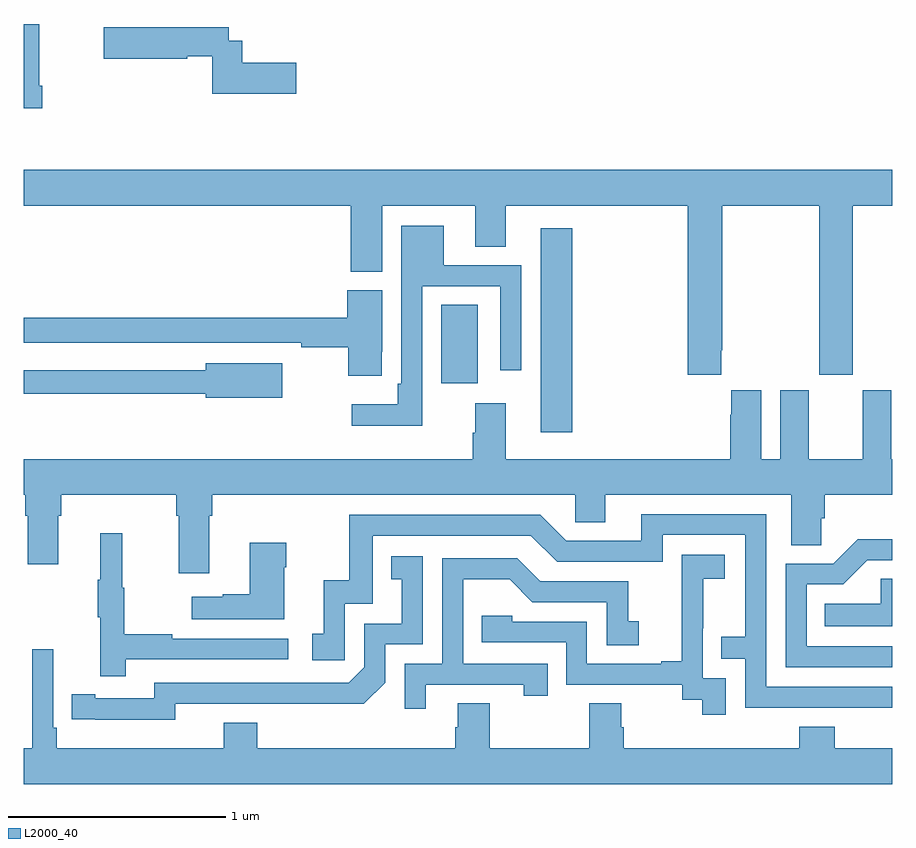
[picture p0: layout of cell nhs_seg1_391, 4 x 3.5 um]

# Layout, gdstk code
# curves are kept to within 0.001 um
import gdstk
lib = gdstk.Library(unit=1e-6, precision=1e-09)
def R(c, l, rs):  # rectangles x0, y0, x1, y1
    for r in rs: c.add(gdstk.rectangle(r[:2], r[2:], *l))
def P(c, l, *ps):  # polygons
    for p in ps: c.add(gdstk.Polygon(p, *l))
L2000_40 = (2000, 40)

nhs_seg1_391 = lib.new_cell('nhs_seg1_391')
R(nhs_seg1_391, L2000_40, [(135.38,516.057,135.527,516.996), (134.924,516.282,135.091,516.644)])
P(nhs_seg1_391, L2000_40, [(133.085,517.651),(133.072,517.651),(133.072,517.936),(133,517.936),(133,517.547),(133.085,517.547)],
  [(134.254,517.757),(134.006,517.757),(134.006,517.858),(133.944,517.858),(133.944,517.922),(133.368,517.922),(133.368,517.775),(133.752,517.775),(133.752,517.787),(133.869,517.787),(133.869,517.615),(134.254,517.615)],
  [(136.213,516.433),(136.218,516.433),(136.218,517.1),(136.663,517.1),(136.663,516.321),(136.818,516.321),(136.818,517.1),(137,517.1),(137,517.264),(133,517.264),(133,517.1),(134.507,517.1),(134.507,516.796),(134.65,516.796),(134.65,517.1),(135.08,517.1),(135.08,516.91),(135.22,516.91),(135.22,517.1),(136.058,517.1),(136.058,516.321),(136.213,516.321)],
  [(134.835,516.729),(135.195,516.729),(135.195,516.342),(135.291,516.342),(135.291,516.825),(134.935,516.825),(134.935,517.006),(134.739,517.006),(134.739,516.28),(134.723,516.28),(134.723,516.184),(134.511,516.184),(134.511,516.086),(134.835,516.086)],
  [(134.649,516.427),(134.65,516.427),(134.65,516.711),(134.489,516.711),(134.489,516.584),(133,516.584),(133,516.468),(134.278,516.468),(134.278,516.448),(134.494,516.448),(134.494,516.315),(134.649,516.315)],
  [(134.191,516.373),(133.838,516.373),(133.838,516.342),(133,516.342),(133,516.234),(133.838,516.234),(133.838,516.215),(134.191,516.215)],
  [(133.855,515.672),(133.868,515.672),(133.868,515.768),(135.54,515.768),(135.54,515.641),(135.679,515.641),(135.679,515.768),(136.535,515.768),(136.535,515.536),(136.674,515.536),(136.674,515.659),(136.688,515.659),(136.688,515.768),(137,515.768),(137,515.932),(136.996,515.932),(136.996,516.25),(136.865,516.25),(136.865,515.932),(136.615,515.932),(136.615,516.25),(136.484,516.25),(136.484,515.932),(136.396,515.932),(136.396,516.25),(136.259,516.25),(136.259,516.137),(136.253,516.137),(136.253,515.932),(135.22,515.932),(135.22,516.19),(135.08,516.19),(135.08,516.053),(135.068,516.053),(135.068,515.932),(133,515.932),(133,515.768),(133.007,515.768),(133.007,515.672),(133.019,515.672),(133.019,515.448),(133.159,515.448),(133.159,515.672),(133.172,515.672),(133.172,515.768),(133.703,515.768),(133.703,515.672),(133.715,515.672),(133.715,515.406),(133.855,515.406)],
  [(137,514.884),(136.419,514.884),(136.419,515.679),(135.845,515.679),(135.845,515.556),(135.498,515.556),(135.378,515.676),(134.499,515.676),(134.499,515.374),(134.381,515.374),(134.381,515.127),(134.328,515.127),(134.328,515.007),(134.478,515.007),(134.478,515.265),(134.607,515.265),(134.607,515.58),(135.336,515.58),(135.456,515.46),(135.942,515.46),(135.942,515.583),(136.323,515.583),(136.323,515.114),(136.213,515.114),(136.213,515.013),(136.323,515.013),(136.323,514.788),(137,514.787)],
  [(133.469,515.01),(134.218,515.01),(134.218,515.106),(133.685,515.106),(133.685,515.126),(133.462,515.126),(133.462,515.34),(133.454,515.34),(133.454,515.59),(133.352,515.59),(133.352,515.377),(133.341,515.377),(133.341,515.203),(133.352,515.203),(133.352,514.932),(133.469,514.932)],
  [(137,515.07),(136.605,515.07),(136.605,515.355),(136.774,515.355),(136.885,515.466),(137,515.466),(137,515.564),(136.841,515.564),(136.728,515.451),(136.509,515.451),(136.509,514.974),(137,514.974)],
  [(134.2,515.435),(134.208,515.435),(134.208,515.548),(134.042,515.548),(134.042,515.309),(133.916,515.309),(133.916,515.299),(133.773,515.299),(133.773,515.195),(134.2,515.195)],
  [(136.233,514.923),(136.128,514.923),(136.128,515.153),(136.13,515.153),(136.13,515.381),(136.228,515.381),(136.228,515.491),(136.03,515.491),(136.03,515.285),(136.031,515.285),(136.031,515.002),(135.935,515.002),(135.935,514.989),(135.594,514.989),(135.594,515.184),(135.249,515.184),(135.249,515.211),(135.109,515.211),(135.109,515.088),(135.498,515.088),(135.498,514.893),(136.032,514.893),(136.032,514.825),(136.125,514.825),(136.125,514.755),(136.233,514.755)],
  [(133.698,514.806),(134.566,514.805),(134.664,514.902),(134.664,515.079),(134.838,515.079),(134.838,515.485),(134.692,515.485),(134.692,515.379),(134.741,515.379),(134.741,515.175),(134.568,515.175),(134.568,514.974),(134.496,514.902),(133.602,514.902),(133.602,514.83),(133.33,514.83),(133.33,514.85),(133.222,514.85),(133.222,514.734),(133.698,514.733)],
  [(134.851,514.893),(135.302,514.893),(135.302,514.842),(135.413,514.842),(135.413,514.989),(135.024,514.989),(135.024,515.378),(135.238,515.378),(135.342,515.274),(135.684,515.274),(135.684,515.076),(135.832,515.076),(135.832,515.185),(135.783,515.185),(135.783,515.37),(135.379,515.37),(135.274,515.475),(134.928,515.475),(134.928,514.989),(134.754,514.989),(134.754,514.782),(134.851,514.782)],
  [(137,515.381),(136.947,515.381),(136.947,515.266),(136.69,515.266),(136.69,515.162),(137,515.162)],
  [(133.922,514.717),(133.922,514.6),(133.151,514.6),(133.151,514.696),(133.137,514.696),(133.137,515.056),(133.04,515.056),(133.04,514.6),(133,514.6),(133,514.436),(137,514.436),(137,514.6),(136.736,514.6),(136.736,514.699),(136.571,514.699),(136.571,514.6),(135.764,514.6),(135.764,514.698),(135.751,514.698),(135.751,514.808),(135.604,514.808),(135.604,514.6),(135.147,514.6),(135.147,514.808),(134.999,514.808),(134.999,514.698),(134.987,514.698),(134.987,514.6),(134.075,514.6),(134.075,514.717)])

lib.write_gds('nhs_seg1_391.gds')
